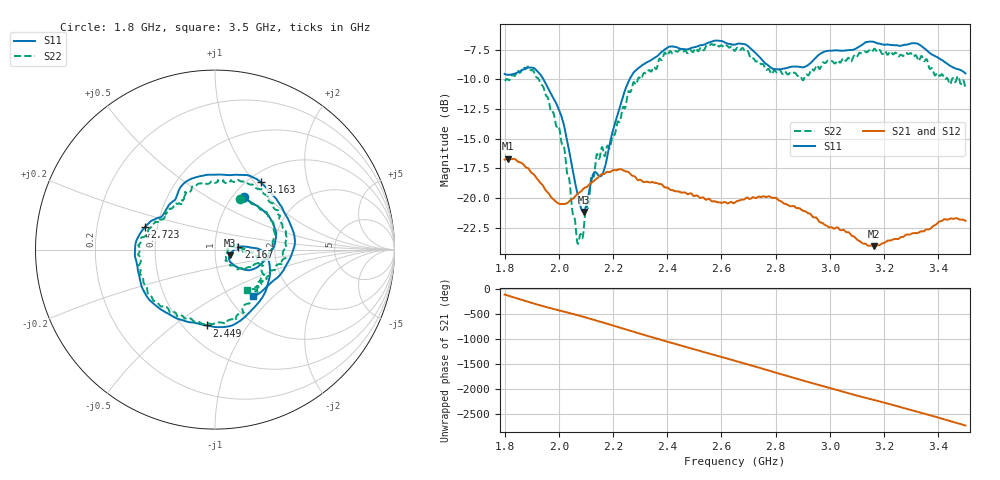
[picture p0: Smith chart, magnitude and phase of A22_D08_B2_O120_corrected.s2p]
! Created with skrf 1.9.0 (http://scikit-rf.org).
# Hz S RI R 50.0
!freq ReS11 ImS11 ReS21 ImS21 ReS12 ImS12 ReS22 ImS22
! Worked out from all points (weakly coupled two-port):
!   1601 points, 1.8 GHz to 3.5 GHz, reference 50 ohm
!   highest |S21| = -16.67 dB at 1.812 GHz (marker M1); lowest = -24.0 dB at 3.162 GHz (marker M2)
!   lowest |S11| = -21.2 dB at 2.091 GHz (marker M3), VSWR 1.19, Z = 58.7 - j3.88 ohm
!   |S11| at or under -10 dB: 1.943 GHz to 2.261 GHz (317.9 MHz wide, 15.1 % of centre)
!   |S22| runs from -23.8 to -7.0 dB; largest |S21 - S12| = 0.0028
!   S11 on the Smith chart (normalised r, x): 1.8 GHz: 1.13, +0.74; 2.167 GHz: 1.30, +0.04; 2.449 GHz: 0.64, -0.66; 2.723 GHz: 0.43, +0.13; 3.163 GHz: 1.14, +1.08; 3.5 GHz: 1.29, -0.75
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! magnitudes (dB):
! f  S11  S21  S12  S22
! 1.8 GHz  -9.5  -16.8  -16.8  -10.1
! 1.812 GHz  -9.6  -16.7  -16.7  -10.0
! 1.887 GHz  -9.0  -17.5  -17.6  -8.9
! 1.941 GHz  -9.9  -19.0  -19.0  -10.6
! 2.013 GHz  -13.3  -20.5  -20.5  -15.5
! 2.066 GHz  -19.3  -19.7  -19.7  -23.3
! 2.084 GHz  -20.9  -19.4  -19.4  -23.2
! 2.091 GHz  -21.2  -19.2  -19.2  -22.8
! 2.138 GHz  -17.8  -18.4  -18.4  -16.5
! 2.167 GHz  -17.6  -18.0  -18.0  -16.3
! 2.259 GHz  -10.1  -17.8  -17.8  -11.0
! 2.367 GHz  -8.0  -18.8  -18.7  -8.5
! 2.449 GHz  -7.4  -19.5  -19.5  -7.5
! 2.65 GHz  -7.1  -20.4  -20.3  -7.6
! 2.723 GHz  -7.7  -20.0  -19.9  -8.4
! 2.798 GHz  -9.1  -20.0  -20.0  -9.3
! 2.934 GHz  -8.5  -21.5  -21.5  -9.1
! 3.162 GHz  -6.8  -24.0  -24.0  -7.5
! 3.163 GHz  -6.9  -24.0  -24.0  -7.4
! 3.217 GHz  -7.1  -23.6  -23.5  -7.8
! 3.324 GHz  -7.0  -22.9  -22.9  -8.3
! 3.5 GHz  -9.5  -21.9  -21.9  -10.8
